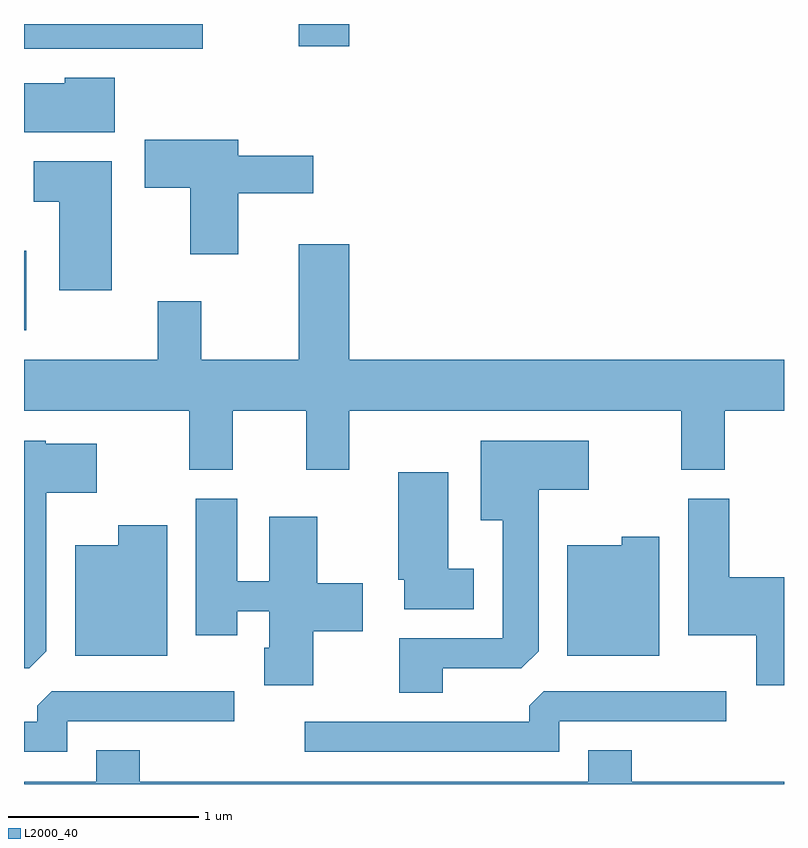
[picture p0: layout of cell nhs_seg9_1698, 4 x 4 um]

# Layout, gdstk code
import gdstk
lib = gdstk.Library(unit=1e-6, precision=1e-09)
def R(c, l, rs):  # rectangles x0, y0, x1, y1
    for r in rs: c.add(gdstk.rectangle(r[:2], r[2:], *l))
def P(c, l, *ps):  # polygons
    for p in ps: c.add(gdstk.Polygon(p, *l))
L2000_40 = (2000, 40)

nhs_seg9_1698 = lib.new_cell('nhs_seg9_1698')
R(nhs_seg9_1698, L2000_40, [(233.611,2078.821,233.624,2079.239), (233.611,2080.301,234.553,2080.432), (235.056,2080.316,235.324,2080.432)])
P(nhs_seg9_1698, L2000_40, [(234.089,2080.149),(233.826,2080.149),(233.826,2080.119),(233.611,2080.119),(233.611,2079.861),(234.089,2079.861)],
  [(234.739,2079.541),(235.134,2079.541),(235.134,2079.739),(234.739,2079.739),(234.739,2079.824),(234.246,2079.824),(234.246,2079.571),(234.486,2079.571),(234.486,2079.221),(234.739,2079.221)],
  [(234.074,2079.709),(233.661,2079.709),(233.661,2079.496),(233.796,2079.496),(233.796,2079.031),(234.074,2079.031)],
  [(234.709,2078.396),(235.096,2078.396),(235.096,2078.086),(235.324,2078.086),(235.324,2078.396),(237.071,2078.396),(237.071,2078.086),(237.299,2078.086),(237.299,2078.396),(237.611,2078.396),(237.611,2078.664),(235.324,2078.664),(235.324,2079.274),(235.056,2079.274),(235.056,2078.664),(234.544,2078.664),(234.544,2078.974),(234.316,2078.974),(234.316,2078.664),(233.611,2078.664),(233.611,2078.396),(234.481,2078.396),(234.481,2078.086),(234.709,2078.086)],
  [(233.729,2077.132),(233.729,2077.966),(233.994,2077.966),(233.994,2078.224),(233.725,2078.224),(233.725,2078.239),(233.611,2078.239),(233.611,2077.041),(233.639,2077.041)],
  [(235.814,2077.041),(236.229,2077.041),(236.319,2077.132),(236.319,2077.981),(236.584,2077.981),(236.584,2078.239),(236.016,2078.239),(236.016,2077.821),(236.131,2077.821),(236.131,2077.199),(235.586,2077.199),(235.586,2076.911),(235.814,2076.911)],
  [(235.979,2077.564),(235.844,2077.564),(235.844,2078.074),(235.581,2078.074),(235.581,2077.506),(235.611,2077.506),(235.611,2077.351),(235.979,2077.351)],
  [(237.611,2077.519),(237.324,2077.519),(237.324,2077.934),(237.106,2077.934),(237.106,2077.216),(237.466,2077.216),(237.466,2076.951),(237.611,2076.951)],
  [(235.134,2077.236),(235.394,2077.236),(235.394,2077.489),(235.154,2077.489),(235.154,2077.839),(234.901,2077.839),(234.901,2077.499),(234.734,2077.499),(234.734,2077.934),(234.516,2077.934),(234.516,2077.216),(234.734,2077.216),(234.734,2077.341),(234.901,2077.341),(234.901,2077.149),(234.876,2077.149),(234.876,2076.951),(235.134,2076.951)],
  [(234.364,2077.794),(234.106,2077.794),(234.106,2077.689),(233.881,2077.689),(233.881,2077.106),(234.364,2077.106)],
  [(236.954,2077.734),(236.756,2077.734),(236.756,2077.689),(236.471,2077.689),(236.471,2077.106),(236.954,2077.106)],
  [(236.429,2076.761),(237.308,2076.761),(237.308,2076.919),(236.347,2076.919),(236.271,2076.844),(236.271,2076.759),(235.088,2076.759),(235.088,2076.601),(236.429,2076.601)],
  [(233.839,2076.761),(234.718,2076.761),(234.718,2076.919),(233.757,2076.919),(233.681,2076.844),(233.681,2076.759),(233.611,2076.759),(233.611,2076.601),(233.839,2076.601)],
  [(237.611,2076.444),(236.809,2076.444),(236.809,2076.609),(236.581,2076.609),(236.581,2076.444),(234.219,2076.444),(234.219,2076.609),(233.991,2076.609),(233.991,2076.444),(233.611,2076.444),(233.611,2076.432),(237.611,2076.432)])

lib.write_gds('nhs_seg9_1698.gds')
